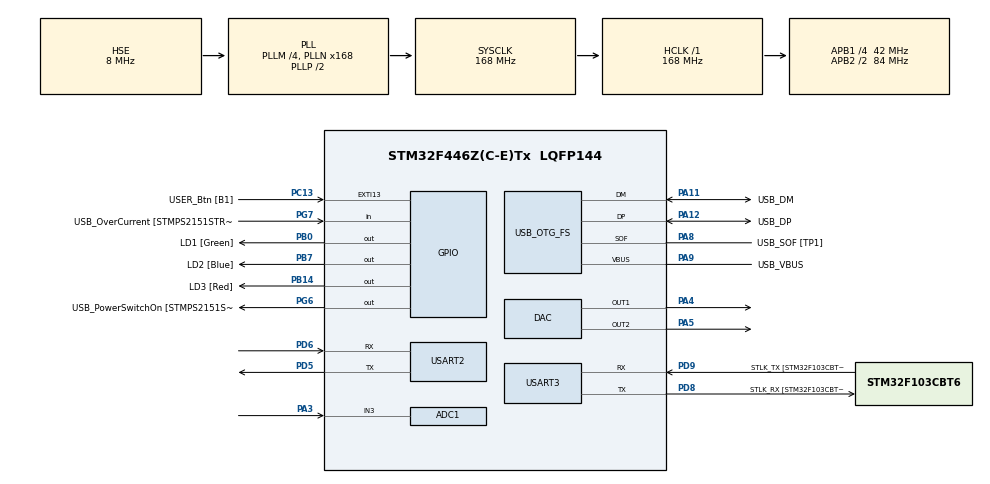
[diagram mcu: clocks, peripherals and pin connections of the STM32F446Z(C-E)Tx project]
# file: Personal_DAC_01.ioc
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ADC1.Channel-0\#ChannelRegularConversion=ADC_CHANNEL_3
ADC1.ContinuousConvMode=ENABLE
ADC1.DMAContinuousRequests=ENABLE
ADC1.NbrOfConversionFlag=1
ADC1.Rank-0\#ChannelRegularConversion=1
ADC1.SamplingTime-0\#ChannelRegularConversion=ADC_SAMPLETIME_3CYCLES
ADC1.master=1
DAC.DAC_Trigger=DAC_TRIGGER_T6_TRGO
Dma.ADC1.1.Direction=DMA_PERIPH_TO_MEMORY
Dma.ADC1.1.FIFOMode=DMA_FIFOMODE_ENABLE
Dma.ADC1.1.FIFOThreshold=DMA_FIFO_THRESHOLD_FULL
Dma.ADC1.1.Instance=DMA2_Stream0
Dma.ADC1.1.MemBurst=DMA_MBURST_SINGLE
Dma.ADC1.1.MemDataAlignment=DMA_MDATAALIGN_HALFWORD
Dma.ADC1.1.MemInc=DMA_MINC_ENABLE
Dma.ADC1.1.Mode=DMA_NORMAL
Dma.ADC1.1.PeriphBurst=DMA_PBURST_SINGLE
Dma.ADC1.1.PeriphDataAlignment=DMA_PDATAALIGN_HALFWORD
Dma.ADC1.1.PeriphInc=DMA_PINC_DISABLE
Dma.ADC1.1.Priority=DMA_PRIORITY_MEDIUM
Dma.DAC1.0.Direction=DMA_MEMORY_TO_PERIPH
Dma.DAC1.0.FIFOMode=DMA_FIFOMODE_DISABLE
Dma.DAC1.0.Instance=DMA1_Stream5
Dma.DAC1.0.MemDataAlignment=DMA_MDATAALIGN_WORD
Dma.DAC1.0.MemInc=DMA_MINC_ENABLE
Dma.DAC1.0.Mode=DMA_CIRCULAR
Dma.DAC1.0.PeriphDataAlignment=DMA_PDATAALIGN_WORD
Dma.DAC1.0.PeriphInc=DMA_PINC_DISABLE
Dma.DAC1.0.Priority=DMA_PRIORITY_MEDIUM
Dma.Request0=DAC1
Dma.Request1=ADC1
Mcu.Family=STM32F4
Mcu.Name=STM32F446Z(C-E)Tx
Mcu.Package=LQFP144
NVIC.DMA1_Stream5_IRQn=true\:0\:0\:false\:false\:true\:false\:true\:true
NVIC.DMA2_Stream0_IRQn=true\:0\:0\:false\:false\:true\:false\:true\:true
NVIC.EXTI15_10_IRQn=true\:0\:0\:false\:false\:true\:true\:true\:true
NVIC.PriorityGroup=NVIC_PRIORITYGROUP_4
NVIC.USART2_IRQn=true\:0\:0\:false\:false\:true\:true\:true\:true
PA10.GPIO_Label=USB_ID
PA10.Signal=USB_OTG_FS_ID
PA11.GPIO_Label=USB_DM
PA11.Mode=Device_Only
PA11.Signal=USB_OTG_FS_DM
PA12.GPIO_Label=USB_DP
PA12.Mode=Device_Only
PA12.Signal=USB_OTG_FS_DP
PA13.GPIO_Label=TMS
PA13.Mode=Serial_Wire
PA13.Signal=SYS_JTMS-SWDIO
PA14.GPIO_Label=TCK
PA14.Mode=Serial_Wire
PA14.Signal=SYS_JTCK-SWCLK
PA3.Signal=ADCx_IN3
PA4.Signal=COMP_DAC1_group
PA5.Signal=COMP_DAC2_group
PA8.GPIO_Label=USB_SOF [TP1]
PA8.Mode=Activate_SOF_FS
PA8.Signal=USB_OTG_FS_SOF
PA9.GPIO_Label=USB_VBUS
PA9.Mode=Activate_VBUS
PA9.Signal=USB_OTG_FS_VBUS
PB0.GPIO_Label=LD1 [Green]
PB0.Signal=GPIO_Output
PB14.GPIO_Label=LD3 [Red]
PB14.Signal=GPIO_Output
PB7.GPIO_Label=LD2 [Blue]
PB7.Signal=GPIO_Output
PC13.GPIO_Label=USER_Btn [B1]
PC13.Signal=GPXTI13
PC14-OSC32_IN.Mode=LSE-External-Oscillator
PC14-OSC32_IN.Signal=RCC_OSC32_IN
PC15-OSC32_OUT.Mode=LSE-External-Oscillator
PC15-OSC32_OUT.Signal=RCC_OSC32_OUT
PD5.Mode=Asynchronous
PD5.Signal=USART2_TX
PD6.Mode=Asynchronous
PD6.Signal=USART2_RX
PD8.GPIO_Label=STLK_RX [STM32F103CBT6_PA3]
PD8.Mode=Asynchronous
PD8.Signal=USART3_TX
PD9.GPIO_Label=STLK_TX [STM32F103CBT6_PA2]
PD9.Mode=Asynchronous
PD9.Signal=USART3_RX
PG6.GPIO_Label=USB_PowerSwitchOn [STMPS2151STR_EN]
PG6.Signal=GPIO_Output
PG7.GPIO_Label=USB_OverCurrent [STMPS2151STR_FAULT]
PG7.Signal=GPIO_Input
PH0-OSC_IN.GPIO_Label=MCO [STM32F103CBT6_PA8]
PH0-OSC_IN.Mode=HSE-External-Clock-Source
PH0-OSC_IN.Signal=RCC_OSC_IN
PH1-OSC_OUT.Mode=HSE-External-Clock-Source
PH1-OSC_OUT.Signal=RCC_OSC_OUT
ProjectManager.HeapSize=0x200
ProjectManager.StackSize=0x400
ProjectManager.TargetToolchain=STM32CubeIDE
RCC.48MHZClocksFreq_Value=24000000
RCC.AHBFreq_Value=168000000
RCC.APB1CLKDivider=RCC_HCLK_DIV4
RCC.APB1Freq_Value=42000000
RCC.APB1TimFreq_Value=84000000
RCC.APB2CLKDivider=RCC_HCLK_DIV2
RCC.APB2Freq_Value=84000000
RCC.APB2TimFreq_Value=168000000
RCC.CortexFreq_Value=168000000
RCC.HCLKFreq_Value=168000000
RCC.HSE_VALUE=8000000
RCC.HSI_VALUE=16000000
RCC.PLLM=4
RCC.PLLMUL=RCC_PLL_MUL9
RCC.PLLN=168
RCC.PLLQ=7
RCC.PRESCALERUSB=RCC_USBCLKSOURCE_PLL_DIV1_5
RCC.SYSCLKFreq_VALUE=168000000
RCC.SYSCLKSource=RCC_SYSCLKSOURCE_PLLCLK
RCC.SYSCLKSourceVirtual=RCC_SYSCLKSOURCE_PLLCLK
RCC.USBFreq_Value=48000000
RCC.VCOOutputFreq_Value=336000000
SH.ADCx_IN3.0=ADC1_IN3,IN3
SH.COMP_DAC1_group.0=DAC_OUT1,DAC_OUT1
SH.COMP_DAC2_group.0=DAC_OUT2,DAC_OUT2
TIM6.Period=324
TIM6.TIM_MasterOutputTrigger=TIM_TRGO_UPDATE
USART2.VirtualMode=VM_ASYNC
USART3.VirtualMode=VM_ASYNC
USB_OTG_FS.VirtualMode=Device_Only
VP_TIM6_VS_ClockSourceINT.Mode=Enable_Timer
board=NUCLEO-F446ZE

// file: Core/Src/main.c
/* USER CODE BEGIN Header */
/**
  ******************************************************************************
  * @file           : main.c
  * @brief          : Main program body
  ******************************************************************************
  * @attention
  *
  * Copyright (c) 2024 STMicroelectronics.
  * All rights reserved.
  *
  * This software is licensed under terms that can be found in the LICENSE file
  * in the root directory of this software component.
  * If no LICENSE file comes with this software, it is provided AS-IS.
  *
  ******************************************************************************
  */
/* USER CODE END Header */
#include "main.h"

/* USER CODE BEGIN Includes */
#include "stm32f4xx_hal.h"
#include <stdio.h>
#include "wave_data.h"
#include "sine_proc.h"
/* USER CODE END Includes */

ADC_HandleTypeDef hadc1;
DMA_HandleTypeDef hdma_adc1;

DAC_HandleTypeDef hdac;
DMA_HandleTypeDef hdma_dac1;

TIM_HandleTypeDef htim6;

UART_HandleTypeDef huart2;
UART_HandleTypeDef huart3;

PCD_HandleTypeDef hpcd_USB_OTG_FS;

void SystemClock_Config(void);
static void MX_GPIO_Init(void);
static void MX_DMA_Init(void);
static void MX_DAC_Init(void);
static void MX_TIM6_Init(void);
static void MX_USART3_UART_Init(void);
static void MX_USB_OTG_FS_PCD_Init(void);
static void MX_USART2_UART_Init(void);
static void MX_ADC1_Init(void);
/* USER CODE BEGIN PFP */

static void UART2_Receive(uint8_t *rxbuffer);
static double ADCConvertTime(ADC_HandleTypeDef *hadc);
/* USER CODE END PFP */

/* USER CODE BEGIN 0 */
uint16_t adc1_data[1024];
double adc1_mean;
double adc1_conv_time;
double adc1_period;
double adc1_frequency;
double adc1_rms;
double adc1_peak_to_peak;

/* USER CODE END 0 */

int main(void)
{

  /* USER CODE BEGIN 1 */
  adc1_conv_time =  ADCConvertTime(&hadc1);
  /* USER CODE END 1 */

  /* MCU Configuration--------------------------------------------------------*/

  /* Reset of all peripherals, Initializes the Flash interface and the Systick. */
  HAL_Init();

  /* Configure the system clock */
  SystemClock_Config();

  /* Initialize all configured peripherals */
  MX_GPIO_Init();
  MX_DMA_Init();
  MX_DAC_Init();
  MX_TIM6_Init();
  MX_USART3_UART_Init();
  MX_USB_OTG_FS_PCD_Init();
  MX_USART2_UART_Init();
  MX_ADC1_Init();
  /* USER CODE BEGIN 2 */

  uint16_t bufferSize = 10;
  uint8_t dataBuffer[bufferSize];
  HAL_UART_Receive_IT(&huart2, dataBuffer, bufferSize);

  HAL_DAC_Start_DMA(&hdac, DAC_CHANNEL_1, (uint32_t *) sinewave_data, sinewave_len, DAC_ALIGN_12B_R);
  HAL_TIM_Base_Start_IT(&htim6);
  /* USER CODE END 2 */

  /* Infinite loop */
  /* USER CODE BEGIN WHILE */
  //uint16_t sample = 0;
  //uint16_t no_samples = 32;

  //uint16_t sample_collect[no_samples];

  //float temp_a = ((2.0 * 3.14)/ ((float) no_samples));
  //float temp_b = ((0xfff+1)/2);
  //uint16_t out_value = 2048;

  while (1)
  {
    /* USER CODE END WHILE */

  }
}

void SystemClock_Config(void)
{
  RCC_OscInitTypeDef RCC_OscInitStruct = {0};
  RCC_ClkInitTypeDef RCC_ClkInitStruct = {0};

  /** Configure the main internal regulator output voltage
  */
  __HAL_RCC_PWR_CLK_ENABLE();
  __HAL_PWR_VOLTAGESCALING_CONFIG(PWR_REGULATOR_VOLTAGE_SCALE1);

  /** Initializes the RCC Oscillators according to the specified parameters
  * in the RCC_OscInitTypeDef structure.
  */
  RCC_OscInitStruct.OscillatorType = RCC_OSCILLATORTYPE_HSE;
  RCC_OscInitStruct.HSEState = RCC_HSE_BYPASS;
  RCC_OscInitStruct.PLL.PLLState = RCC_PLL_ON;
  RCC_OscInitStruct.PLL.PLLSource = RCC_PLLSOURCE_HSE;
  RCC_OscInitStruct.PLL.PLLM = 4;
  RCC_OscInitStruct.PLL.PLLN = 168;
  RCC_OscInitStruct.PLL.PLLP = RCC_PLLP_DIV2;
  RCC_OscInitStruct.PLL.PLLQ = 7;
  RCC_OscInitStruct.PLL.PLLR = 2;
  if (HAL_RCC_OscConfig(&RCC_OscInitStruct) != HAL_OK)
  {
    Error_Handler();
  }

  /** Initializes the CPU, AHB and APB buses clocks
  */
  RCC_ClkInitStruct.ClockType = RCC_CLOCKTYPE_HCLK|RCC_CLOCKTYPE_SYSCLK
                              |RCC_CLOCKTYPE_PCLK1|RCC_CLOCKTYPE_PCLK2;
  RCC_ClkInitStruct.SYSCLKSource = RCC_SYSCLKSOURCE_PLLCLK;
  RCC_ClkInitStruct.AHBCLKDivider = RCC_SYSCLK_DIV1;
  RCC_ClkInitStruct.APB1CLKDivider = RCC_HCLK_DIV4;
  RCC_ClkInitStruct.APB2CLKDivider = RCC_HCLK_DIV2;

  if (HAL_RCC_ClockConfig(&RCC_ClkInitStruct, FLASH_LATENCY_5) != HAL_OK)
  {
    Error_Handler();
  }
}

static void MX_ADC1_Init(void)
{

  ADC_ChannelConfTypeDef sConfig = {0};

  /** Configure the global features of the ADC (Clock, Resolution, Data Alignment and number of conversion)
  */
  hadc1.Instance = ADC1;
  hadc1.Init.ClockPrescaler = ADC_CLOCK_SYNC_PCLK_DIV4;
  hadc1.Init.Resolution = ADC_RESOLUTION_12B;
  hadc1.Init.ScanConvMode = DISABLE;
  hadc1.Init.ContinuousConvMode = ENABLE;
  hadc1.Init.DiscontinuousConvMode = DISABLE;
  hadc1.Init.ExternalTrigConvEdge = ADC_EXTERNALTRIGCONVEDGE_NONE;
  hadc1.Init.ExternalTrigConv = ADC_SOFTWARE_START;
  hadc1.Init.DataAlign = ADC_DATAALIGN_RIGHT;
  hadc1.Init.NbrOfConversion = 1;
  hadc1.Init.DMAContinuousRequests = ENABLE;
  hadc1.Init.EOCSelection = ADC_EOC_SINGLE_CONV;
  if (HAL_ADC_Init(&hadc1) != HAL_OK)
  {
    Error_Handler();
  }

  /** Configure for the selected ADC regular channel its corresponding rank in the sequencer and its sample time.
  */
  sConfig.Channel = ADC_CHANNEL_3;
  sConfig.Rank = 1;
  sConfig.SamplingTime = ADC_SAMPLETIME_3CYCLES;
  if (HAL_ADC_ConfigChannel(&hadc1, &sConfig) != HAL_OK)
  {
    Error_Handler();
  }

}

static void MX_DAC_Init(void)
{

  DAC_ChannelConfTypeDef sConfig = {0};

  /** DAC Initialization
  */
  hdac.Instance = DAC;
  if (HAL_DAC_Init(&hdac) != HAL_OK)
  {
    Error_Handler();
  }

  /** DAC channel OUT1 config
  */
  sConfig.DAC_Trigger = DAC_TRIGGER_T6_TRGO;
  sConfig.DAC_OutputBuffer = DAC_OUTPUTBUFFER_ENABLE;
  if (HAL_DAC_ConfigChannel(&hdac, &sConfig, DAC_CHANNEL_1) != HAL_OK)
  {
    Error_Handler();
  }

  /** DAC channel OUT2 config
  */
  sConfig.DAC_Trigger = DAC_TRIGGER_NONE;
  if (HAL_DAC_ConfigChannel(&hdac, &sConfig, DAC_CHANNEL_2) != HAL_OK)
  {
    Error_Handler();
  }

}

static void MX_TIM6_Init(void)
{

  TIM_MasterConfigTypeDef sMasterConfig = {0};

  htim6.Instance = TIM6;
  htim6.Init.Prescaler = 0;
  htim6.Init.CounterMode = TIM_COUNTERMODE_UP;
  htim6.Init.Period = 261;
  htim6.Init.AutoReloadPreload = TIM_AUTORELOAD_PRELOAD_DISABLE;
  if (HAL_TIM_Base_Init(&htim6) != HAL_OK)
  {
    Error_Handler();
  }
  sMasterConfig.MasterOutputTrigger = TIM_TRGO_UPDATE;
  sMasterConfig.MasterSlaveMode = TIM_MASTERSLAVEMODE_DISABLE;
  if (HAL_TIMEx_MasterConfigSynchronization(&htim6, &sMasterConfig) != HAL_OK)
  {
    Error_Handler();
  }

}

static void MX_USART2_UART_Init(void)
{

  huart2.Instance = USART2;
  huart2.Init.BaudRate = 115200;
  huart2.Init.WordLength = UART_WORDLENGTH_8B;
  huart2.Init.StopBits = UART_STOPBITS_1;
  huart2.Init.Parity = UART_PARITY_NONE;
  huart2.Init.Mode = UART_MODE_TX_RX;
  huart2.Init.HwFlowCtl = UART_HWCONTROL_NONE;
  huart2.Init.OverSampling = UART_OVERSAMPLING_16;
  if (HAL_UART_Init(&huart2) != HAL_OK)
  {
    Error_Handler();
  }

}

static void MX_USART3_UART_Init(void)
{

  huart3.Instance = USART3;
  huart3.Init.BaudRate = 115200;
  huart3.Init.WordLength = UART_WORDLENGTH_8B;
  huart3.Init.StopBits = UART_STOPBITS_1;
  huart3.Init.Parity = UART_PARITY_NONE;
  huart3.Init.Mode = UART_MODE_TX_RX;
  huart3.Init.HwFlowCtl = UART_HWCONTROL_NONE;
  huart3.Init.OverSampling = UART_OVERSAMPLING_16;
  if (HAL_UART_Init(&huart3) != HAL_OK)
  {
    Error_Handler();
  }

}

static void MX_USB_OTG_FS_PCD_Init(void)
{

  hpcd_USB_OTG_FS.Instance = USB_OTG_FS;
  hpcd_USB_OTG_FS.Init.dev_endpoints = 6;
  hpcd_USB_OTG_FS.Init.speed = PCD_SPEED_FULL;
  hpcd_USB_OTG_FS.Init.dma_enable = DISABLE;
  hpcd_USB_OTG_FS.Init.phy_itface = PCD_PHY_EMBEDDED;
  hpcd_USB_OTG_FS.Init.Sof_enable = ENABLE;
  hpcd_USB_OTG_FS.Init.low_power_enable = DISABLE;
  hpcd_USB_OTG_FS.Init.lpm_enable = DISABLE;
  hpcd_USB_OTG_FS.Init.vbus_sensing_enable = ENABLE;
  hpcd_USB_OTG_FS.Init.use_dedicated_ep1 = DISABLE;
  if (HAL_PCD_Init(&hpcd_USB_OTG_FS) != HAL_OK)
  {
    Error_Handler();
  }

}

static void MX_DMA_Init(void)
{

  /* DMA controller clock enable */
  __HAL_RCC_DMA1_CLK_ENABLE();
  __HAL_RCC_DMA2_CLK_ENABLE();

  /* DMA interrupt init */
  /* DMA1_Stream5_IRQn interrupt configuration */
  HAL_NVIC_SetPriority(DMA1_Stream5_IRQn, 0, 0);
  HAL_NVIC_EnableIRQ(DMA1_Stream5_IRQn);
  /* DMA2_Stream0_IRQn interrupt configuration */
  HAL_NVIC_SetPriority(DMA2_Stream0_IRQn, 0, 0);
  HAL_NVIC_EnableIRQ(DMA2_Stream0_IRQn);

}

static void MX_GPIO_Init(void)
{
  GPIO_InitTypeDef GPIO_InitStruct = {0};

  /* GPIO Ports Clock Enable */
  __HAL_RCC_GPIOC_CLK_ENABLE();
  __HAL_RCC_GPIOH_CLK_ENABLE();
  __HAL_RCC_GPIOA_CLK_ENABLE();
  __HAL_RCC_GPIOB_CLK_ENABLE();
  __HAL_RCC_GPIOD_CLK_ENABLE();
  __HAL_RCC_GPIOG_CLK_ENABLE();

  /*Configure GPIO pin Output Level */
  HAL_GPIO_WritePin(GPIOB, LD1_Pin|LD3_Pin|LD2_Pin, GPIO_PIN_RESET);

  /*Configure GPIO pin Output Level */
  HAL_GPIO_WritePin(USB_PowerSwitchOn_GPIO_Port, USB_PowerSwitchOn_Pin, GPIO_PIN_RESET);

  /*Configure GPIO pin : USER_Btn_Pin */
  GPIO_InitStruct.Pin = USER_Btn_Pin;
  GPIO_InitStruct.Mode = GPIO_MODE_IT_RISING;
  GPIO_InitStruct.Pull = GPIO_NOPULL;
  HAL_GPIO_Init(USER_Btn_GPIO_Port, &GPIO_InitStruct);

  /*Configure GPIO pins : LD1_Pin LD3_Pin LD2_Pin */
  GPIO_InitStruct.Pin = LD1_Pin|LD3_Pin|LD2_Pin;
  GPIO_InitStruct.Mode = GPIO_MODE_OUTPUT_PP;
  GPIO_InitStruct.Pull = GPIO_NOPULL;
  GPIO_InitStruct.Speed = GPIO_SPEED_FREQ_LOW;
  HAL_GPIO_Init(GPIOB, &GPIO_InitStruct);

  /*Configure GPIO pin : USB_PowerSwitchOn_Pin */
  GPIO_InitStruct.Pin = USB_PowerSwitchOn_Pin;
  GPIO_InitStruct.Mode = GPIO_MODE_OUTPUT_PP;
  GPIO_InitStruct.Pull = GPIO_NOPULL;
  GPIO_InitStruct.Speed = GPIO_SPEED_FREQ_LOW;
  HAL_GPIO_Init(USB_PowerSwitchOn_GPIO_Port, &GPIO_InitStruct);

  /*Configure GPIO pin : USB_OverCurrent_Pin */
  GPIO_InitStruct.Pin = USB_OverCurrent_Pin;
  GPIO_InitStruct.Mode = GPIO_MODE_INPUT;
  GPIO_InitStruct.Pull = GPIO_NOPULL;
  HAL_GPIO_Init(USB_OverCurrent_GPIO_Port, &GPIO_InitStruct);

  /* EXTI interrupt init*/
  HAL_NVIC_SetPriority(EXTI15_10_IRQn, 0, 0);
  HAL_NVIC_EnableIRQ(EXTI15_10_IRQn);

}

/* USER CODE BEGIN 4 */

void HAL_UART_RxCpltCallback(UART_HandleTypeDef *huart)
{
  /* Prevent unused argument(s) compilation warning */
  UNUSED(huart);
  if(huart == &huart2)
  {
	  UART2_Receive(huart2.pRxBuffPtr);
  }

}

void UART2_Receive(uint8_t *rxBuffer)
{

}

/*
 * Andrew Korell 2024-06-13
 *
 * Call back when 1024 items have been read from ADC1 to the DMA
 *
 * Print out statistics of what the wave form looks like
 *
 *
 */
void HAL_ADC_ConvCpltCallback(ADC_HandleTypeDef *hadc)
{
  /* Prevent unused argument(s) compilation warning */

	UNUSED(hadc);
	wave_stats wave = GetRmsRaw((uint16_t *) &adc1_data, 1024);

	adc1_mean = wave.mean * (3.6 / 4096.0);

	adc1_peak_to_peak = wave.peak_to_peak * (3.6 / 4096.0);

	adc1_rms = wave.rms * (3.6 / 4096.0);

	adc1_period = wave.samples_per_period * adc1_conv_time;

	adc1_frequency = 1.0 / adc1_period;

}

/*
 * Andrew Korell 2024-06-13
 *
 * Trying to create something more dynamic for calculating the period of the waveform read in an ADC
 * The data should be available in HAL
 *
 */
double ADCConvertTime(ADC_HandleTypeDef *hadc)
{

	//double bits = 12.0; // ? hadc->Init.Resolution == ADC_RESOLUTION_12B : 8.0;
	//double sample_time = 3.0;
	//double prescale = 4.0; //Todo: Need an implementation for this

	//(Bits + Conv_Time_in_Clicks) * 1 / (PCLK2 / ADC_Prescaler )
	return (15.0) * (1.0 / (double) 21000000);
}

/* USER CODE END 4 */

void Error_Handler(void)
{
  __disable_irq();
  while (1)
  {
  }
}
